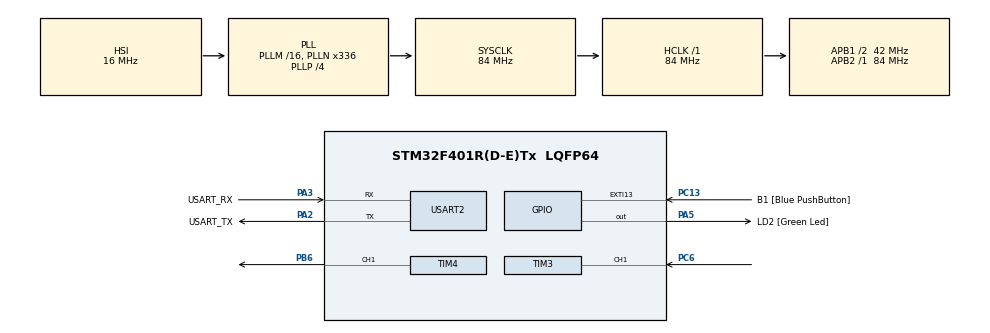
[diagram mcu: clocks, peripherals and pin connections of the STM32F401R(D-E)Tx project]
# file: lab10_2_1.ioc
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Mcu.Family=STM32F4
Mcu.Name=STM32F401R(D-E)Tx
Mcu.Package=LQFP64
NVIC.PriorityGroup=NVIC_PRIORITYGROUP_0
NVIC.TIM3_IRQn=true\:0\:0\:false\:false\:true\:true\:true
PA13.GPIO_Label=TMS
PA13.Mode=Serial_Wire
PA13.Signal=SYS_JTMS-SWDIO
PA14.GPIO_Label=TCK
PA14.Mode=Serial_Wire
PA14.Signal=SYS_JTCK-SWCLK
PA2.GPIO_Label=USART_TX
PA2.GPIO_Mode=GPIO_MODE_AF_PP
PA2.GPIO_PuPd=GPIO_NOPULL
PA2.GPIO_Speed=GPIO_SPEED_FREQ_LOW
PA2.Mode=Asynchronous
PA2.Signal=USART2_TX
PA3.GPIO_Label=USART_RX
PA3.GPIO_Mode=GPIO_MODE_AF_PP
PA3.GPIO_PuPd=GPIO_NOPULL
PA3.GPIO_Speed=GPIO_SPEED_FREQ_LOW
PA3.Mode=Asynchronous
PA3.Signal=USART2_RX
PA5.GPIO_Label=LD2 [Green Led]
PA5.GPIO_Mode=GPIO_MODE_OUTPUT_PP
PA5.GPIO_PuPd=GPIO_NOPULL
PA5.GPIO_Speed=GPIO_SPEED_FREQ_LOW
PA5.Signal=GPIO_Output
PB3.GPIO_Label=SWO
PB3.Signal=SYS_JTDO-SWO
PB6.Signal=S_TIM4_CH1
PC13-ANTI_TAMP.GPIO_Label=B1 [Blue PushButton]
PC13-ANTI_TAMP.GPIO_ModeDefaultEXTI=GPIO_MODE_IT_FALLING
PC13-ANTI_TAMP.GPIO_PuPd=GPIO_NOPULL
PC13-ANTI_TAMP.Signal=GPXTI13
PC14-OSC32_IN.Mode=LSE-External-Oscillator
PC14-OSC32_IN.Signal=RCC_OSC32_IN
PC15-OSC32_OUT.Mode=LSE-External-Oscillator
PC15-OSC32_OUT.Signal=RCC_OSC32_OUT
PC6.Signal=S_TIM3_CH1
PH0\ -\ OSC_IN.Mode=HSE-External-Clock-Source
PH0\ -\ OSC_IN.Signal=RCC_OSC_IN
PH1\ -\ OSC_OUT.Mode=HSE-External-Clock-Source
PH1\ -\ OSC_OUT.Signal=RCC_OSC_OUT
ProjectManager.HeapSize=0x200
ProjectManager.StackSize=0x400
ProjectManager.TargetToolchain=STM32CubeIDE
RCC.48MHZClocksFreq_Value=48000000
RCC.AHBFreq_Value=84000000
RCC.APB1CLKDivider=RCC_HCLK_DIV2
RCC.APB1Freq_Value=42000000
RCC.APB1TimFreq_Value=84000000
RCC.APB2Freq_Value=84000000
RCC.APB2TimFreq_Value=84000000
RCC.CortexFreq_Value=84000000
RCC.HCLKFreq_Value=84000000
RCC.HSE_VALUE=8000000
RCC.HSI_VALUE=16000000
RCC.PLLN=336
RCC.PLLP=RCC_PLLP_DIV4
RCC.PLLQ=7
RCC.SYSCLKFreq_VALUE=84000000
RCC.SYSCLKSource=RCC_SYSCLKSOURCE_PLLCLK
RCC.VCOOutputFreq_Value=336000000
SH.S_TIM3_CH1.0=TIM3_CH1,Input_Capture1_from_TI1
SH.S_TIM4_CH1.0=TIM4_CH1,PWM Generation1 CH1
TIM3.Channel-Input_Capture1_from_TI1=TIM_CHANNEL_1
TIM3.Prescaler=1
TIM4.Channel-PWM\ Generation1\ CH1=TIM_CHANNEL_1
TIM4.Period=8533
USART2.VirtualMode=VM_ASYNC
VP_TIM3_VS_ClockSourceINT.Mode=Internal
VP_TIM4_VS_ClockSourceINT.Mode=Internal
board=NUCLEO-F401RE

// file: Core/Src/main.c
/* USER CODE BEGIN Header */
/**
  ******************************************************************************
  * @file           : main.c
  * @brief          : Main program body
  ******************************************************************************
  * @attention
  *
  * Copyright (c) 2023 STMicroelectronics.
  * All rights reserved.
  *
  * This software is licensed under terms that can be found in the LICENSE file
  * in the root directory of this software component.
  * If no LICENSE file comes with this software, it is provided AS-IS.
  *
  ******************************************************************************
  */
/* USER CODE END Header */
#include "main.h"

TIM_HandleTypeDef htim3;
TIM_HandleTypeDef htim4;

UART_HandleTypeDef huart2;

void SystemClock_Config(void);
static void MX_GPIO_Init(void);
static void MX_USART2_UART_Init(void);
static void MX_TIM3_Init(void);
static void MX_TIM4_Init(void);

int main(void)
{

  /* MCU Configuration--------------------------------------------------------*/

  /* Reset of all peripherals, Initializes the Flash interface and the Systick. */
  HAL_Init();

  /* Configure the system clock */
  SystemClock_Config();

  /* Initialize all configured peripherals */
  MX_GPIO_Init();
  MX_USART2_UART_Init();
  MX_TIM3_Init();
  MX_TIM4_Init();

  /* Infinite loop */
  /* USER CODE BEGIN WHILE */
  HAL_TIM_IC_Start_IT(&htim3, TIM_CHANNEL_1);   // inizializzo timer 3
  HAL_TIM_PWM_Start(&htim4, TIM_CHANNEL_1);     // inizializzo timer 4

  while (1)
  {
    /* USER CODE END WHILE */

  }
}

void SystemClock_Config(void)
{
  RCC_OscInitTypeDef RCC_OscInitStruct = {0};
  RCC_ClkInitTypeDef RCC_ClkInitStruct = {0};

  /** Configure the main internal regulator output voltage
  */
  __HAL_RCC_PWR_CLK_ENABLE();
  __HAL_PWR_VOLTAGESCALING_CONFIG(PWR_REGULATOR_VOLTAGE_SCALE2);
  /** Initializes the RCC Oscillators according to the specified parameters
  * in the RCC_OscInitTypeDef structure.
  */
  RCC_OscInitStruct.OscillatorType = RCC_OSCILLATORTYPE_HSI;
  RCC_OscInitStruct.HSIState = RCC_HSI_ON;
  RCC_OscInitStruct.HSICalibrationValue = RCC_HSICALIBRATION_DEFAULT;
  RCC_OscInitStruct.PLL.PLLState = RCC_PLL_ON;
  RCC_OscInitStruct.PLL.PLLSource = RCC_PLLSOURCE_HSI;
  RCC_OscInitStruct.PLL.PLLM = 16;
  RCC_OscInitStruct.PLL.PLLN = 336;
  RCC_OscInitStruct.PLL.PLLP = RCC_PLLP_DIV4;
  RCC_OscInitStruct.PLL.PLLQ = 7;
  if (HAL_RCC_OscConfig(&RCC_OscInitStruct) != HAL_OK)
  {
    Error_Handler();
  }
  /** Initializes the CPU, AHB and APB buses clocks
  */
  RCC_ClkInitStruct.ClockType = RCC_CLOCKTYPE_HCLK|RCC_CLOCKTYPE_SYSCLK
                              |RCC_CLOCKTYPE_PCLK1|RCC_CLOCKTYPE_PCLK2;
  RCC_ClkInitStruct.SYSCLKSource = RCC_SYSCLKSOURCE_PLLCLK;
  RCC_ClkInitStruct.AHBCLKDivider = RCC_SYSCLK_DIV1;
  RCC_ClkInitStruct.APB1CLKDivider = RCC_HCLK_DIV2;
  RCC_ClkInitStruct.APB2CLKDivider = RCC_HCLK_DIV1;

  if (HAL_RCC_ClockConfig(&RCC_ClkInitStruct, FLASH_LATENCY_2) != HAL_OK)
  {
    Error_Handler();
  }
}

static void MX_TIM3_Init(void)
{

  TIM_ClockConfigTypeDef sClockSourceConfig = {0};
  TIM_MasterConfigTypeDef sMasterConfig = {0};
  TIM_IC_InitTypeDef sConfigIC = {0};

  htim3.Instance = TIM3;
  htim3.Init.Prescaler = 1;
  htim3.Init.CounterMode = TIM_COUNTERMODE_UP;
  htim3.Init.Period = 65535;
  htim3.Init.ClockDivision = TIM_CLOCKDIVISION_DIV1;
  htim3.Init.AutoReloadPreload = TIM_AUTORELOAD_PRELOAD_DISABLE;
  if (HAL_TIM_Base_Init(&htim3) != HAL_OK)
  {
    Error_Handler();
  }
  sClockSourceConfig.ClockSource = TIM_CLOCKSOURCE_INTERNAL;
  if (HAL_TIM_ConfigClockSource(&htim3, &sClockSourceConfig) != HAL_OK)
  {
    Error_Handler();
  }
  if (HAL_TIM_IC_Init(&htim3) != HAL_OK)
  {
    Error_Handler();
  }
  sMasterConfig.MasterOutputTrigger = TIM_TRGO_RESET;
  sMasterConfig.MasterSlaveMode = TIM_MASTERSLAVEMODE_DISABLE;
  if (HAL_TIMEx_MasterConfigSynchronization(&htim3, &sMasterConfig) != HAL_OK)
  {
    Error_Handler();
  }
  sConfigIC.ICPolarity = TIM_INPUTCHANNELPOLARITY_RISING;
  sConfigIC.ICSelection = TIM_ICSELECTION_DIRECTTI;
  sConfigIC.ICPrescaler = TIM_ICPSC_DIV1;
  sConfigIC.ICFilter = 0;
  if (HAL_TIM_IC_ConfigChannel(&htim3, &sConfigIC, TIM_CHANNEL_1) != HAL_OK)
  {
    Error_Handler();
  }

}

static void MX_TIM4_Init(void)
{

  TIM_ClockConfigTypeDef sClockSourceConfig = {0};
  TIM_MasterConfigTypeDef sMasterConfig = {0};
  TIM_OC_InitTypeDef sConfigOC = {0};

  htim4.Instance = TIM4;
  htim4.Init.Prescaler = 0;
  htim4.Init.CounterMode = TIM_COUNTERMODE_UP;
  htim4.Init.Period = 8533;
  htim4.Init.ClockDivision = TIM_CLOCKDIVISION_DIV1;
  htim4.Init.AutoReloadPreload = TIM_AUTORELOAD_PRELOAD_DISABLE;
  if (HAL_TIM_Base_Init(&htim4) != HAL_OK)
  {
    Error_Handler();
  }
  sClockSourceConfig.ClockSource = TIM_CLOCKSOURCE_INTERNAL;
  if (HAL_TIM_ConfigClockSource(&htim4, &sClockSourceConfig) != HAL_OK)
  {
    Error_Handler();
  }
  if (HAL_TIM_PWM_Init(&htim4) != HAL_OK)
  {
    Error_Handler();
  }
  sMasterConfig.MasterOutputTrigger = TIM_TRGO_RESET;
  sMasterConfig.MasterSlaveMode = TIM_MASTERSLAVEMODE_DISABLE;
  if (HAL_TIMEx_MasterConfigSynchronization(&htim4, &sMasterConfig) != HAL_OK)
  {
    Error_Handler();
  }
  sConfigOC.OCMode = TIM_OCMODE_PWM1;
  sConfigOC.Pulse = 0;
  sConfigOC.OCPolarity = TIM_OCPOLARITY_HIGH;
  sConfigOC.OCFastMode = TIM_OCFAST_DISABLE;
  if (HAL_TIM_PWM_ConfigChannel(&htim4, &sConfigOC, TIM_CHANNEL_1) != HAL_OK)
  {
    Error_Handler();
  }
  HAL_TIM_MspPostInit(&htim4);

}

static void MX_USART2_UART_Init(void)
{

  huart2.Instance = USART2;
  huart2.Init.BaudRate = 115200;
  huart2.Init.WordLength = UART_WORDLENGTH_8B;
  huart2.Init.StopBits = UART_STOPBITS_1;
  huart2.Init.Parity = UART_PARITY_NONE;
  huart2.Init.Mode = UART_MODE_TX_RX;
  huart2.Init.HwFlowCtl = UART_HWCONTROL_NONE;
  huart2.Init.OverSampling = UART_OVERSAMPLING_16;
  if (HAL_UART_Init(&huart2) != HAL_OK)
  {
    Error_Handler();
  }

}

static void MX_GPIO_Init(void)
{
  GPIO_InitTypeDef GPIO_InitStruct = {0};

  /* GPIO Ports Clock Enable */
  __HAL_RCC_GPIOC_CLK_ENABLE();
  __HAL_RCC_GPIOH_CLK_ENABLE();
  __HAL_RCC_GPIOA_CLK_ENABLE();
  __HAL_RCC_GPIOB_CLK_ENABLE();

  /*Configure GPIO pin Output Level */
  HAL_GPIO_WritePin(LD2_GPIO_Port, LD2_Pin, GPIO_PIN_RESET);

  /*Configure GPIO pin : B1_Pin */
  GPIO_InitStruct.Pin = B1_Pin;
  GPIO_InitStruct.Mode = GPIO_MODE_IT_FALLING;
  GPIO_InitStruct.Pull = GPIO_NOPULL;
  HAL_GPIO_Init(B1_GPIO_Port, &GPIO_InitStruct);

  /*Configure GPIO pin : LD2_Pin */
  GPIO_InitStruct.Pin = LD2_Pin;
  GPIO_InitStruct.Mode = GPIO_MODE_OUTPUT_PP;
  GPIO_InitStruct.Pull = GPIO_NOPULL;
  GPIO_InitStruct.Speed = GPIO_SPEED_FREQ_LOW;
  HAL_GPIO_Init(LD2_GPIO_Port, &GPIO_InitStruct);

}

/* USER CODE BEGIN 4 */
uint16_t capture, oldcapture, high;

void HAL_TIM_IC_CaptureCallback(TIM_HandleTypeDef *htim){
	if(htim == &htim3){

		capture = HAL_TIM_ReadCapturedValue(htim, TIM_CHANNEL_1);
		uint16_t T;
	    float duty;

		if (HAL_GPIO_ReadPin (GPIOC, GPIO_PIN_6) == 1){
			T = capture - oldcapture;
			float f= 1/(T*2.38E-8);
			float DC_out = (4.529E-5*(float)f+0.214);
			if(DC_out<0) DC_out = 0;
			if(DC_out>1) DC_out = 1;
			__HAL_TIM_SET_COMPARE(&htim4, TIM_CHANNEL_1, DC_out*8533);

			duty = (float)high/(float)T;

			oldcapture = capture;
		}else{
			high = capture - oldcapture;
		}

	}
}
/* USER CODE END 4 */

void Error_Handler(void)
{
  __disable_irq();
  while (1)
  {
  }
}
